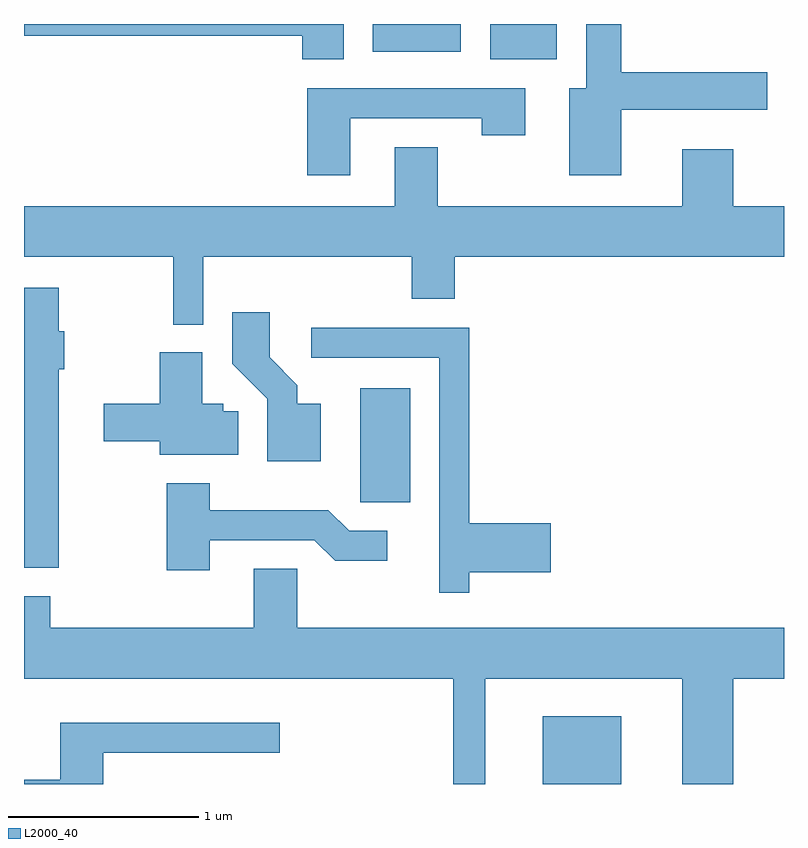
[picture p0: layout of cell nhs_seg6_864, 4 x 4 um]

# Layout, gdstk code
import gdstk
lib = gdstk.Library(unit=1e-6, precision=1e-09)
def R(c, l, rs):  # rectangles x0, y0, x1, y1
    for r in rs: c.add(gdstk.rectangle(r[:2], r[2:], *l))
def P(c, l, *ps):  # polygons
    for p in ps: c.add(gdstk.Polygon(p, *l))
L2000_40 = (2000, 40)

nhs_seg6_864 = lib.new_cell('nhs_seg6_864')
R(nhs_seg6_864, L2000_40, [(214.341,1536.162,214.754,1536.519), (213.381,1537.646,213.644,1538.244), (214.066,1539.976,214.414,1540.162), (213.446,1540.016,213.909,1540.162)])
P(nhs_seg6_864, L2000_40, [(214.754,1539.711),(215.524,1539.711),(215.524,1539.909),(214.754,1539.909),(214.754,1540.162),(214.571,1540.162),(214.571,1539.824),(214.481,1539.824),(214.481,1539.366),(214.754,1539.366)],
  [(213.294,1540.162),(211.611,1540.162),(211.611,1540.101),(213.076,1540.101),(213.076,1539.976),(213.294,1539.976)],
  [(213.329,1539.666),(214.021,1539.666),(214.021,1539.576),(214.249,1539.576),(214.249,1539.824),(213.101,1539.824),(213.101,1539.366),(213.329,1539.366)],
  [(212.554,1538.936),(213.651,1538.936),(213.651,1538.716),(213.879,1538.716),(213.879,1538.936),(215.611,1538.936),(215.611,1539.204),(215.344,1539.204),(215.344,1539.504),(215.076,1539.504),(215.076,1539.204),(213.789,1539.204),(213.789,1539.514),(213.561,1539.514),(213.561,1539.204),(211.611,1539.204),(211.611,1538.936),(212.396,1538.936),(212.396,1538.578),(212.554,1538.578)],
  [(211.794,1538.346),(211.824,1538.346),(211.824,1538.544),(211.794,1538.544),(211.794,1538.774),(211.611,1538.774),(211.611,1537.301),(211.794,1537.301)],
  [(213.174,1538.164),(213.049,1538.164),(213.049,1538.262),(212.904,1538.407),(212.904,1538.644),(212.706,1538.644),(212.706,1538.374),(212.891,1538.189),(212.891,1537.861),(213.174,1537.861)],
  [(213.954,1537.276),(214.384,1537.276),(214.384,1537.534),(213.954,1537.534),(213.954,1538.564),(213.123,1538.564),(213.123,1538.406),(213.796,1538.406),(213.796,1537.168),(213.954,1537.168)],
  [(212.739,1538.124),(212.659,1538.124),(212.659,1538.164),(212.549,1538.164),(212.549,1538.434),(212.326,1538.434),(212.326,1538.164),(212.031,1538.164),(212.031,1537.966),(212.326,1537.966),(212.326,1537.896),(212.739,1537.896)],
  [(212.589,1537.446),(213.139,1537.446),(213.249,1537.336),(213.523,1537.336),(213.523,1537.494),(213.322,1537.494),(213.212,1537.604),(212.589,1537.604),(212.589,1537.744),(212.361,1537.744),(212.361,1537.286),(212.589,1537.286)],
  [(214.039,1536.716),(215.076,1536.716),(215.076,1536.162),(215.344,1536.162),(215.344,1536.716),(215.611,1536.716),(215.611,1536.984),(213.049,1536.984),(213.049,1537.294),(212.821,1537.294),(212.821,1536.984),(211.749,1536.984),(211.749,1537.149),(211.611,1537.149),(211.611,1536.716),(213.871,1536.716),(213.871,1536.162),(214.039,1536.162)],
  [(212.029,1536.326),(212.958,1536.326),(212.958,1536.484),(211.801,1536.484),(211.801,1536.184),(211.611,1536.184),(211.611,1536.162),(212.029,1536.162)])

lib.write_gds('nhs_seg6_864.gds')
